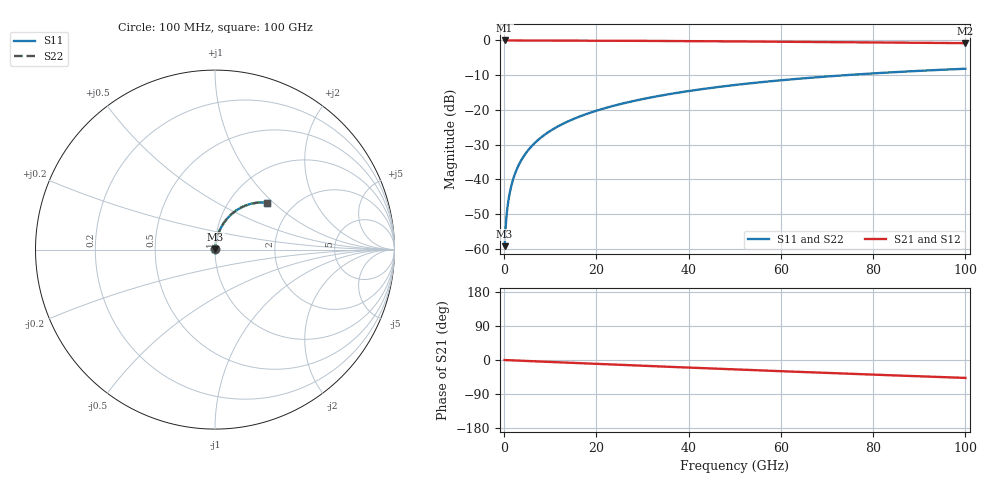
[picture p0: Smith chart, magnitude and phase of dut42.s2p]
! Touchstone file exported from HFSS 2026.1.0
!  File:  C:/ffzhzh/LocalFiles/Ansys_Project_Files/temp_train_RDL_42_1783498166_9504.aedt
!  Generated:  04:10:27 PM Jul  8, 2026
!  Design:  RDL
!  Project:  temp_train_RDL_42_1783498166_9504
! Variables:
!  h_bsmrdl = 2um
!  h_ox = 20um
!  h_rdl = 5um
!  h_sub = 80um
!  h_tmrdl = 2.97um
!  h_tsv = 80um
!  h_via = 3um
!  l_bsmrdl = 300um
!  l_sub = 520.52um
!  l_tmrdl = 120.52um
!  m_sub = 200um
!  pitch = 41.45um
!  r_tsv = 6um
!  s_tmrdl = 10um
!  w_bsmrdl = 18um
!  w_sub = 500um
!  w_tmrdl = 21.85um
!  x_tsv_center1 = 131.445um
!  x_tsv_center2 = 449.445um
!  x_tsv_center3 = 591.815um
!  x_tsv_center4 = 909.815um
!  x_tsv_center5 = 1052.185um
!  x_tsv_center6 = 1370.185um
# GHz S MA R 50.000000
! Terminal data exported
! Port[1] = TM_RDL1_1_T1
! Port[2] = TM_RDL1_1_T2
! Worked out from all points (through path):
!   1000 points, 100 MHz to 100 GHz, reference 50 ohm
!   highest |S21| = -0.01 dB at 100 MHz (marker M1); lowest = -0.8 dB at 100 GHz (marker M2)
!   group delay of S21, straight-line fit = 1.31 ps
!   lowest |S11| = -59.3 dB at 100 MHz (marker M3), VSWR 1.00, Z = 50.1 + j0.0567 ohm
!   |S11| at or under -10 dB: start of sweep to 74.1 GHz
!   |S22| runs from -59.3 to -8.2 dB; largest |S21 - S12| = 5.2e-15
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0.1  0.001086 31.4  0.9991 -0.1  0.9991 -0.1  0.001086 31.4
! Gamma 0 0 0 0
! Port Impedance 50 0 50 0
0.4  0.002406 64.1  0.999 -0.2  0.999 -0.2  0.002406 64.1
0.7  0.003846 72.6  0.9989 -0.4  0.9989 -0.4  0.003846 72.6
0.9  0.004816 75.6  0.9988 -0.5  0.9988 -0.5  0.004816 75.6
1.2  0.006285 78.4  0.9988 -0.6  0.9988 -0.6  0.006285 78.4
1.6  0.008263 80.6  0.9987 -0.8  0.9987 -0.8  0.008263 80.6
2.1  0.01075 82.1  0.9987 -1.1  0.9987 -1.1  0.01075 82.1
2.7  0.01375 83.1  0.9986 -1.4  0.9986 -1.4  0.01375 83.1
3.4  0.01724 83.6  0.9985 -1.8  0.9985 -1.8  0.01724 83.6
4.2  0.02123 83.8  0.9983 -2.2  0.9983 -2.2  0.02123 83.8
5.2  0.02619 83.8  0.9981 -2.7  0.9981 -2.7  0.02619 83.8
6.3  0.03163 83.6  0.9978 -3.3  0.9978 -3.3  0.03163 83.6
9.1  0.04534 82.6  0.9968 -4.7  0.9968 -4.7  0.04534 82.6
12.6  0.06222 81.1  0.9954 -6.5  0.9954 -6.5  0.06222 81.1
16.8  0.08215 79.2  0.9935 -8.6  0.9935 -8.6  0.08215 79.2
24.2  0.1165 75.8  0.9893 -12.3  0.9893 -12.3  0.1165 75.8
33.4  0.158 71.6  0.9829 -16.8  0.9829 -16.8  0.158 71.6
41.2  0.1917 67.9  0.9765 -20.6  0.9765 -20.6  0.1917 67.9
50.1  0.2284 63.8  0.9682 -24.9  0.9682 -24.9  0.2284 63.8
66.7  0.291 56.2  0.9507 -32.6  0.9507 -32.6  0.291 56.2
83.4  0.3455 48.9  0.9319 -40.1  0.9319 -40.1  0.3455 48.9
100  0.391 41.8  0.9136 -47.3  0.9136 -47.3  0.391 41.8
